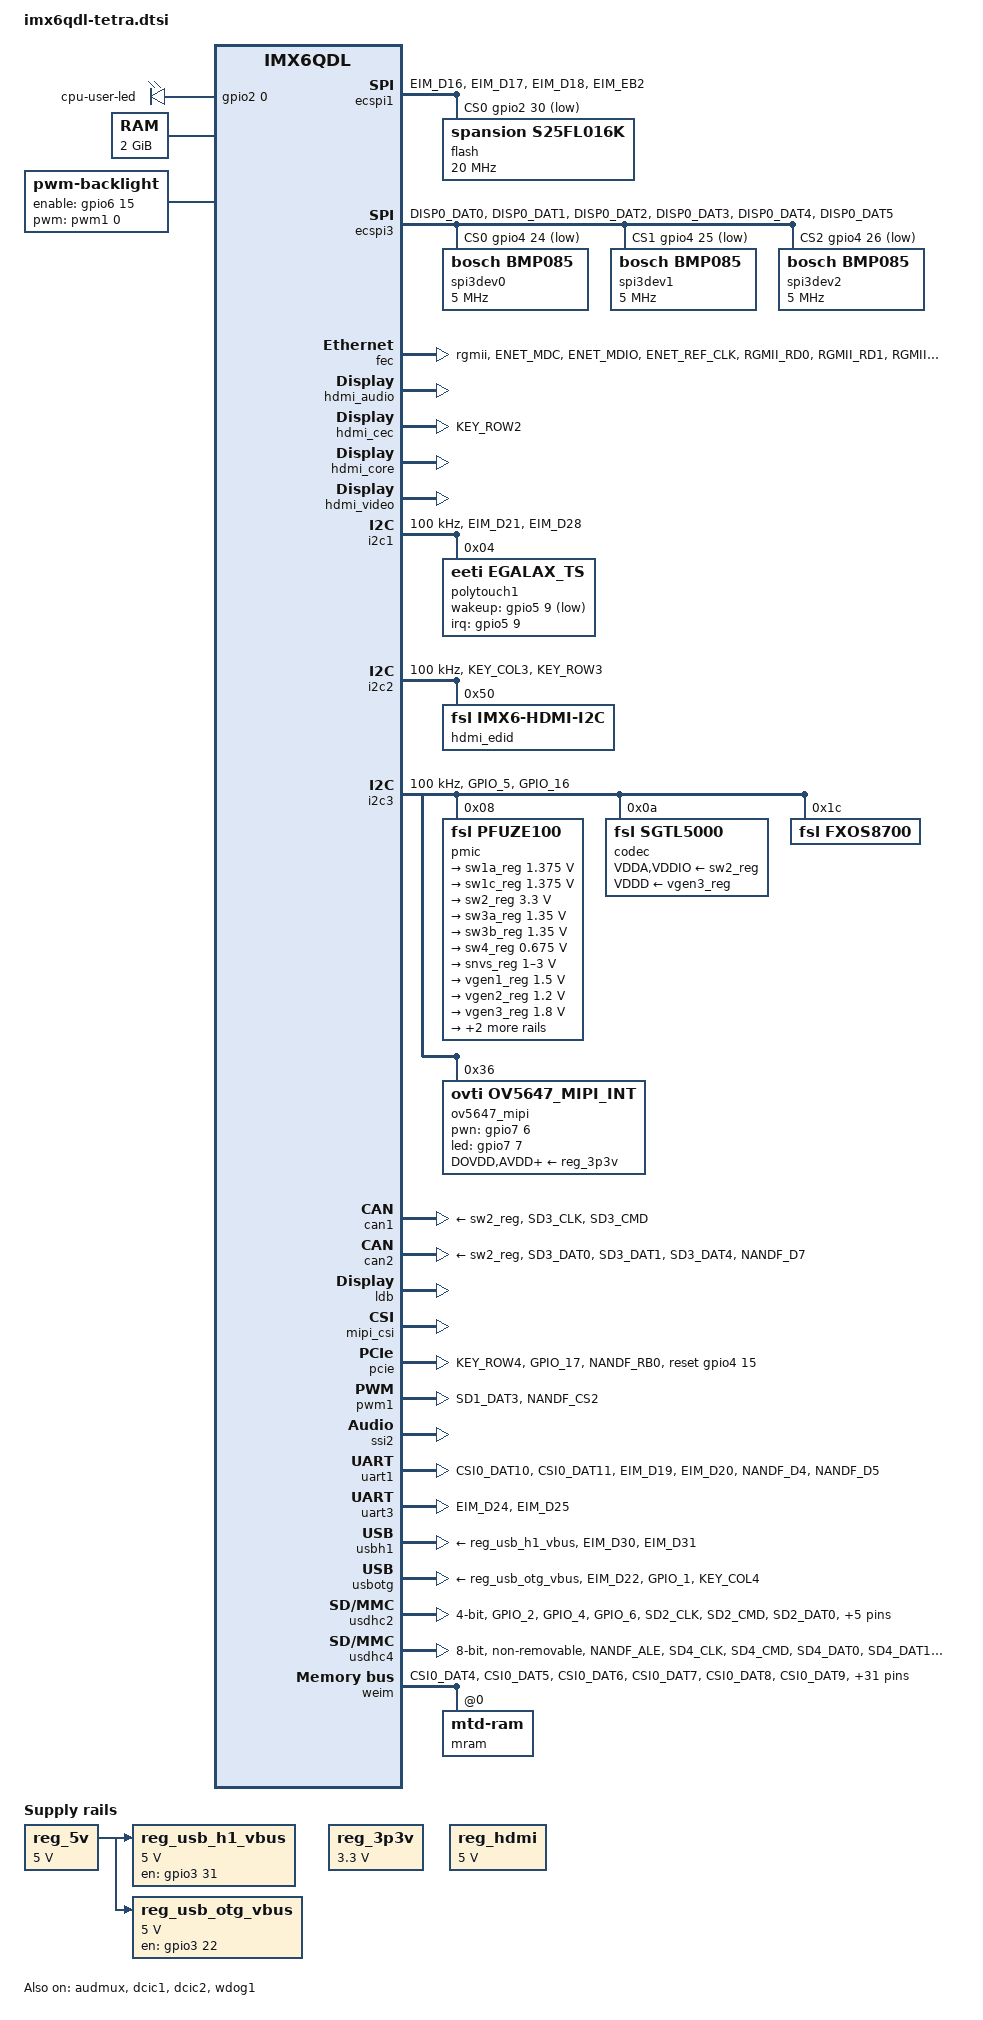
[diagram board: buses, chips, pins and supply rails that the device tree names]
/*
 * Copyright 2012-2016 Freescale Semiconductor, Inc.
 * Copyright 2011 Linaro Ltd.
 *
 * The code contained herein is licensed under the GNU General Public
 * License. You may obtain a copy of the GNU General Public License
 * Version 2 or later at the following locations:
 *
 * http://www.opensource.org/licenses/gpl-license.html
 * http://www.gnu.org/copyleft/gpl.html
 */

#include <dt-bindings/gpio/gpio.h>
#include <dt-bindings/input/input.h>

/ {
	aliases {
		mxcfb0 = &mxcfb1;
		mxcfb1 = &mxcfb2;
                mxcfb2 = &mxcfb3;
	};

	chosen {
		stdout-path = &uart1;
	};

	leds {
		compatible = "gpio-leds";
		cpu-user-led {
			gpios = <&gpio2 0 GPIO_ACTIVE_HIGH>;
			linux,default-trigger = "heartbeat"; /* blink PLED */
			retain-state-suspended;
		};
	};
	memory: memory {
		reg = <0x10000000 0x80000000>;
	};

        regulators {

                compatible = "simple-bus";
                #address-cells = <1>;
                #size-cells = <0>;
  
  
  
                /* MJ: updates 1/31/18, add a 5V regulator for use as vin-supply for USB and HDMI */
                reg_5v: regulator@0{
                        compatible = "regulator-fixed";
                        reg = <0>;
                        regulator-name = "5V_Supply";
                        regulator-min-microvolt = <5000000>;
                        regulator-max-microvolt = <5000000>;
	  		startup-delay-us = <70000>;
                        regulator-boot-on;
                };
  
                reg_usb_h1_vbus: regulator@1{
                        compatible = "regulator-fixed";
                        reg = <1>;
                        regulator-name = "usb_h1_vbus";
                        regulator-min-microvolt = <5000000>;
                        regulator-max-microvolt = <5000000>;
                        gpio = <&gpio3 31 GPIO_ACTIVE_HIGH>;
                        enable-active-high;
                        vin-supply = <&reg_5v>;
                };
  
                reg_usb_otg_vbus: regulator@2{
                        compatible = "regulator-fixed";
                        reg = <2>;
                        regulator-name = "usb_otg_vbus";
                        regulator-min-microvolt = <5000000>;
                        regulator-max-microvolt = <5000000>;
                        gpio = <&gpio3 22 1>;
                        enable-active-high;
                        vin-supply = <&reg_5v>;
                };
 
                reg_3p3v: regulator@4 {
                        compatible = "regulator-fixed";
                        reg = <4>;
                        regulator-name = "3P3V";
                        regulator-min-microvolt = <3300000>;
                        regulator-max-microvolt = <3300000>;
                        regulator-always-on;
                };

                reg_hdmi: regulator@5 {
                        compatible = "regulator-fixed";
                        reg = <5>;
                        regulator-name = "hdmi-5v-supply";
                        regulator-min-microvolt = <5000000>;
                        regulator-max-microvolt = <5000000>;
                        enable-active-high;
                        hdmi-5v-supply = <&reg_5v>;
                };
	};


	gpio-keys {
		compatible = "gpio-keys";
		pinctrl-names = "default";
		pinctrl-0 = <&pinctrl_gpio_keys>;

		/* Added for Tetra -- wake up signal support? */
/*
		pcie-wake {
			label = "PCIe Wake";
			gpios = <&gpio3 26 GPIO_ACTIVE_LOW>; 
			gpio-key,wakeup;
*/
		/*	linux,code = <KEY_PCIEWAKE>; */
		/*};*/
	};

        sound {
                compatible = "fsl,imx-audio-sgtl5000";
                model = "sgtl5000-audio";
                ssi-controller = <&ssi2>;
                audio-codec = <&codec>;
                audio-routing =
                        "MIC_IN", "Mic Jack",
                        "Mic Jack", "Mic Bias",
                        "Headphone Jack", "HP_OUT";
                mux-int-port = <1>;
                mux-ext-port = <3>;
        };

	sound-hdmi {
		compatible = "fsl,imx6q-audio-hdmi",
			     "fsl,imx-audio-hdmi";
		model = "imx-audio-hdmi";
		hdmi-controller = <&hdmi_audio>;
	};

	/* 18-bit LVDS (RGB666) */
	mxcfb1: fb@0 {
                compatible = "fsl,mxc_sdc_fb";
                disp_dev = "ldb";
                interface_pix_fmt = "RGB666";
		default_bpp = <16>;  /* why not 18 - 6+6+6? */
                int_clk = <0>;
                late_init = <0>;
                status = "disabled";
        };

	/* HDMI video settings */
	mxcfb2: fb@1 {
                compatible = "fsl,mxc_sdc_fb";
                disp_dev = "hdmi";
                interface_pix_fmt = "RGB24";
                mode_str ="1920x1080M@60";
                default_bpp = <24>;
                int_clk = <0>;
                late_init = <0>;
                status = "disabled";
        };

	/* MJ:  24 bit LVDS Panel settings (RGB888), supports up to 1366x768 */
	mxcfb3: fb@2 {
		compatible = "fsl,mxc_sdc_fb";
		disp_dev = "ldb";
		interface_pix_fmt = "RGB888"; /* MJ: changed from RGB666 */
		default_bpp = <24>; /* MJ: changed from 16 */
		int_clk = <0>;
		late_init = <0>;
		status = "disabled";
	};
	backlight {
		compatible = "pwm-backlight";
		pwms = <&pwm1 0 5000000>;
		brightness-levels = <0 4 8 16 32 64 128 255>;
		default-brightness-level = <7>;
		enable-gpios = <&gpio6 15 GPIO_ACTIVE_HIGH>;
		status = "okay";
	};

	v4l2_cap_0 {
		compatible = "fsl,imx6q-v4l2-capture";
		ipu_id = <0>;
		csi_id = <1>;
		mclk_source = <0>;
		mipi_camera = <0>;
		default_input = <1>;
		status = "okay";
	};

	v4l2_out {
		compatible = "fsl,mxc_v4l2_output";
		status = "okay";
	};

};

&audmux {
	pinctrl-names = "default";
	pinctrl-0 = <&pinctrl_audmux>;
	status = "okay";
};

&cpu0 {
/*
	arm-supply = <&sw1a_reg>;
	soc-supply = <&sw1c_reg>;
*/
};

&ecspi1 {
        fsl,spi-num-chipselects = <1>;
        cs-gpios = <
		&gpio2 30 GPIO_ACTIVE_LOW
		>; 
        pinctrl-names = "default";
        pinctrl-0 = <&pinctrl_ecspi1 &pinctrl_ecspi1_cs>;
        status = "okay";

        flash: 25fl016ki@0 {
                #address-cells = <1>;
                #size-cells = <1>;
                compatible = "spansion,s25fl016k";
                spi-max-frequency = <20000000>;
                reg = <0>;
        };
};

&ecspi3 {

        pinctrl-names = "default";
	fsl,spi-num-chipselects = <3>;
	cs-gpios = <
		&gpio4 24 GPIO_ACTIVE_LOW
		&gpio4 25 GPIO_ACTIVE_LOW
		&gpio4 26 GPIO_ACTIVE_LOW
		>;
        pinctrl-0 = <&pinctrl_ecspi3 &pinctrl_ecspi3_cs>;
        status = "okay";

        spi3dev0: spi@0 {
                compatible = "bosch,bmp085";
                reg = <0>;
                spi-max-frequency = <5000000>;
        };

        spi3dev1: spi@1 {
                compatible = "bosch,bmp085";
                reg = <1>;
                spi-max-frequency = <5000000>;
        };
        spi3dev2: spi@2 {
                compatible = "bosch,bmp085";
                reg = <2>;
                spi-max-frequency = <5000000>;
        };
};

&fec {
	pinctrl-names = "default";
	pinctrl-0 = <&pinctrl_enet>;
	phy-mode = "rgmii";
	/*phy-reset-gpios = <&gpio1 25 GPIO_ACTIVE_LOW>;*/
	/*fsl,magic-packet;*/
	status = "okay";
        txen-skew-ps = <0>;
        txc-skew-ps = <3000>;
        rxdv-skew-ps = <0>;
        rxc-skew-ps = <3000>;
        rxd0-skew-ps = <0>;
        rxd1-skew-ps = <0>;
        rxd2-skew-ps = <0>;
        rxd3-skew-ps = <0>;
        txd0-skew-ps = <0>;
        txd1-skew-ps = <0>;
        txd2-skew-ps = <0>;
        txd3-skew-ps = <0>;
/*
	phy-handle = <&ethphy0>;
        mdio {
                #address-cells = <1>;
                #size-cells = <0>;
                ethphy0: ethernet-phy@3 {
                        compatible = "micrel,ksz9031";
                        device_type = "ethernet-phy";
                        reg = <3>;
                };
        };
*/
};

&gpc {
	fsl,ldo-bypass = <1>; /* use ldo-bypass, u-boot will check it and configure */
	fsl,wdog-reset = <2>; /* watchdog select of reset source */
};

&dcic1 {
	dcic_id = <0>;
	dcic_mux = "dcic-hdmi";
	status = "okay";
};

&dcic2 {
	dcic_id = <1>;
	dcic_mux = "dcic-lvds0";
	status = "okay";
};

&hdmi_audio {
	status = "okay";
};

&hdmi_cec {
	pinctrl-names = "default";
	pinctrl-0 = <&pinctrl_hdmi_cec>;
	status = "okay";
};

&hdmi_core {
	ipu_id = <0>;
	disp_id = <0>;
	status = "okay";
};

&hdmi_video {
	fsl,phy_reg_vlev = <0x0294>;
	fsl,phy_reg_cksymtx = <0x800d>;
	HDMI-supply = <&reg_hdmi>; /* 3.3V */
	status = "okay";
};

&i2c1 {
	clock-frequency = <100000>;
	pinctrl-names = "default";
	pinctrl-0 = <&pinctrl_i2c1>;
	status = "okay";

	/* MJ - Touchscreen control should use I2C1 bus, updated GPIO pin info */
        polytouch1: eeti@04 {
                compatible = "eeti,egalax_ts";
                reg = <0x04>; /* I2C 7-bit address */
                interrupt-parent = <&gpio5>;
                interrupts = <9 2>;
                wakeup-gpios = <&gpio5 9 GPIO_ACTIVE_LOW>;
                linux,wakeup;
        };
};

&i2c2 {
	clock-frequency = <100000>;
	pinctrl-names = "default";
	pinctrl-0 = <&pinctrl_i2c2>;
	status = "okay";

	hdmi_edid: edid@50 {
		compatible = "fsl,imx6-hdmi-i2c";
		reg = <0x50>;
	};

};
&i2c3 {
	clock-frequency = <100000>;
	pinctrl-names = "default";
	pinctrl-0 = <&pinctrl_i2c3>;
	status = "okay";

	pmic: pfuze100@08 {
		compatible = "fsl,pfuze100";
		reg = <0x08>;

           regulators {

                /* SW1AB = V1P375_CORE, sequence #2 */
                sw1a_reg: sw1ab {
                     regulator-min-microvolt = <1375000>;
                     regulator-max-microvolt = <1375000>;
                     regulator-boot-on;
                     regulator-always-on;
                };

                /* SW1C = V1P375_SOC, sequence #3 */
                sw1c_reg: sw1c {
                     regulator-min-microvolt = <1375000>;
                     regulator-max-microvolt = <1375000>;
                     regulator-boot-on;
                     regulator-always-on;
                };

                /* SW2 = V3P3, sequence #6 */
                sw2_reg: sw2 {
                     regulator-min-microvolt = <3300000>;
                     regulator-max-microvolt = <3300000>;
                     regulator-boot-on;
                     regulator-always-on;
                };

                /* SW3A and SW3B = V1P35_DDR, sequence #4 */
                sw3a_reg: sw3a {
                     regulator-min-microvolt = <1350000>;
                     regulator-max-microvolt = <1350000>;
                     regulator-boot-on;
                     regulator-always-on;
                };

                /* SW3A and SW3B = V1P35_DDR, sequence #4 */
                sw3b_reg: sw3b {
                     regulator-min-microvolt = <1350000>;
                     regulator-max-microvolt = <1350000>;
                     regulator-boot-on;
                     regulator-always-on;
                };

                /* SW4 = V0P675_DDR_VTT = 0.5(SW3A) when VTT = Enabled, sequence #4 */
                sw4_reg: sw4 {
                     regulator-min-microvolt = <675000>;
                     regulator-max-microvolt = <675000>;
                     regulator-boot-on;
                     regulator-always-on;
                };

                /* SWBST (NOT USED), sequence #0 */

                /* VSNVS = V3_VSNVS (Coin Cell/LDO in PMIC), not sequenced */
                /* Always on per battery or on per Vin */
                snvs_reg: vsnvs {
                     regulator-min-microvolt = <1000000>;
                     regulator-max-microvolt = <3000000>;
                     regulator-boot-on;
                     regulator-always-on;
                };

                /* VREFDDR = V0P675_DDR_VREF, sequence #4 */
                vref_reg: vrefddr {
                     regulator-boot-on;
                     regulator-always-on;
                };

                /* VGEN1 = V1P5_MINI, sequence #31 */
                /* last rail to turn on, delays reset release */
                vgen1_reg: vgen1 {
                     regulator-min-microvolt = <1500000>;
                     regulator-max-microvolt = <1500000>;
                     regulator-boot-on;
                     regulator-always-on;
				
				/* Suspend-to-RAM allows for turning off ??? */
				/*regulator-state-mem {
					regulator-off-in-suspend;
				};
                           */
				/* Suspend-to-DISK allows for turning off ??? */
				/*regulator-state-disk {
					regulator-off-in-suspend;
				};
                           */
			};
                /* VGEN2 = V1P2_ETH, sequence #9 */
                vgen2_reg: vgen2 {
                     regulator-min-microvolt = <1200000>;
                     regulator-max-microvolt = <1200000>;
                     regulator-boot-on;
                     regulator-always-on;
                };

                /* VGEN3 = V1P8_AUDIO, sequence #6 */
                vgen3_reg: vgen3 {
                     regulator-min-microvolt = <1800000>;
                     regulator-max-microvolt = <1800000>;
                     regulator-boot-on;
                     regulator-always-on;
                };

                /* VGEN4 (NOT USED), sequence #0 */

                /* VGEN5 = V2P5_ETH, sequence #8 */
                vgen5_reg: vgen5 {
                     regulator-min-microvolt = <2500000>;
                     regulator-max-microvolt = <2500000>;
                     regulator-boot-on;
                     regulator-always-on;
                };

                /* VGEN6 = V3_ALWAYS, sequence #1 */
                vgen6_reg: vgen6 {
                     regulator-min-microvolt = <3000000>;
                     regulator-max-microvolt = <3000000>;
                     regulator-boot-on;
                     regulator-always-on;
                };
	    };
	};

        codec: sgtl5000@0a {
                compatible = "fsl,sgtl5000";
                reg = <0x0a>;
                clocks = <&clks 201>;
                VDDA-supply = <&sw2_reg>;
                VDDIO-supply = <&sw2_reg>;
                VDDD-supply = <&vgen3_reg>;
        };

        fxos8700@1c {
                compatible = "fsl,fxos8700";
                reg = <0x1c>;
        };

        ov5647_mipi@36 {
                compatible = "ovti,ov5647_mipi_int";
                reg = <0x36>;
                clocks = <&clks 0>;
                clock-names = "csi_mclk";
                pinctrl-names = "default";
                pinctrl-0 = <&pinctrl_cam>;
                DOVDD-supply = <&reg_3p3v>;
                AVDD-supply = <&reg_3p3v>;
                DVDD-supply = <&reg_3p3v>;
                pwn-gpios = <&gpio7 6 GPIO_ACTIVE_HIGH>;
                led-gpios = <&gpio7 7 GPIO_ACTIVE_HIGH>;
                ipu_id = <0>;
                csi_id = <1>;
                mclk = <25000000>;
                mclk_source = <0>;
/*
                extended-buffer;
*/

        };
};

&clks {
	fsl,ldb-di0-parent = <&clks IMX6QDL_CLK_PLL2_PFD0_352M>;
	fsl,ldb-di1-parent = <&clks IMX6QDL_CLK_PLL2_PFD0_352M>;
};

&can1 {
        pinctrl-names = "default";
        pinctrl-0 = <&pinctrl_flexcan1>;
	xceiver-supply = <&sw2_reg>; 
        status = "okay";
};

&can2 {
        pinctrl-names = "default";
        pinctrl-0 = <&pinctrl_flexcan2>;
	xceiver-supply = <&sw2_reg>; 
        status = "okay";
};


&iomuxc {
	pinctrl-names = "default";
	pinctrl-0 = <&pinctrl_hog>;
	
	imx6qdl-tetra {
		pinctrl_hog: hoggrp {
			fsl,pins = <
                                /* Programmable LED output for User I/O */
				MX6QDL_PAD_NANDF_D0__GPIO2_IO00            0x0001B018
  
                                /* Updated for TP, pull-down, 90 Ohm, slow slew */
                                MX6QDL_PAD_CSI0_PIXCLK__ARM_EVENTO         0x00013098 
                                /* Updated for TP */
                                MX6QDL_PAD_GPIO_3__XTALOSC_REF_CLK_24M     0x00013098 
                                /* Updated for TP */
                                MX6QDL_PAD_GPIO_8__XTALOSC_REF_CLK_32K     0x00013098 
                                /* COMP_IRQ# input, update to pull-up (off by default)*/
				MX6QDL_PAD_DI0_PIN2__GPIO4_IO18            0x0001B0B0
                                /* PMIC_INT# input (pull-up = off by default) */
				MX6QDL_PAD_DISP0_DAT12__GPIO5_IO06         0x0001B0B0
                                /* USB_HUB_RST# out (pull-up = off by default) */
				MX6QDL_PAD_DISP0_DAT22__GPIO5_IO16         0x0001B030
                                /* SOC_RSTOUT# out (pull-up = off by default) */
 				MX6QDL_PAD_EIM_A25__GPIO5_IO02             0x0001B030
                                /* LVDS signals */                          
                                /* GPIO6_IO16 is LVDS_PANEL_PWREN, was 0x80000000 */
                                MX6QDL_PAD_NANDF_CS3__GPIO6_IO16 0x00013018
                                /* GPIO6_IO07 is PG_V3P3_LVDS input, was 0x80000000 */
				MX6QDL_PAD_NANDF_CLE__GPIO6_IO07 0x0001B018

                                /* section for multifunction pins. Choose one function for each pin
                                   
                                /* PIN1: GPIO1/GPT_OUT1/PWM_OUT4 */
                                MX6QDL_PAD_SD1_CMD__GPIO1_IO18             0x0001B018 /* GPIO 1 */
                                /* MX6QDL_PAD_SD1_CMD__PWM4_OUT               0x0001B018 */ /* PWM_OUT4 */
                                /* MX6QDL_PAD_SD1_CMD__GPT_COMPARE1           0x0001B018 */ /* GPT_OUT1 */

				/* PIN2: GPIO2/GPT_IN1 */
                                MX6QDL_PAD_SD1_DAT0__GPIO1_IO16            0x0001B018 /* GPIO 2 */
                                /* MX6QDL_PAD_SD1_DAT0__GPT_CAPTURE1          0x0001B018 */ /* GPT_IN1 */

				/* PIN3: GPIO3/GPT_IN2/PWM_OUT3 */
                                MX6QDL_PAD_SD1_DAT1__GPIO1_IO17            0x0001B018 /* GPIO 3 */
                                /* MX6QDL_PAD_SD1_DAT1__PWM3_OUT              0x0001B018 */ /* PWM_OUT3 */
                                /* MX6QDL_PAD_SD1_DAT1__GPT_CAPTURE2          0x0001B018 */ /* GPT_IN2 */

				/* PIN4: GPIO4/GPT_OUT2/WDOG1_RST# */
                                MX6QDL_PAD_SD1_DAT2__GPIO1_IO19            0x0001B018 /* GPIO 4 */
                                /* MX6QDL_PAD_SD1_DAT2__GPT_COMPARE2          0x0001B018 */ /* GPT_OUT2 */
                                /* MX6QDL_PAD_SD1_DAT2__WDOG1_RESET_B_DEB     0x0001B018 */ /* WDOG1_RST# */

				/* PIN5: GPIO5/GPT_CLKIN */
                                MX6QDL_PAD_SD1_CLK__GPIO1_IO20             0x0001B018 /* GPIO 5 */
                                /* MX6QDL_PAD_SD1_CLK__GPT_CLKIN              0x0001B018 */ /* GPT_CLKIN */

				/* PIN6: GPIO 6 */
                                MX6QDL_PAD_DISP0_DAT10__GPIO4_IO31         0x0001B018 /* GPIO 6 */

				/* PIN7: GPIO7/PWM_OUT2/WDOG2# */
                                MX6QDL_PAD_DISP0_DAT9__GPIO4_IO30          0x0001B018 /* GPIO 7 */
                                /* MX6QDL_PAD_DISP0_DAT9__PWM2_OUT            0x0001B018 */ /*PWM_OUT2 */
				/* MX6QDL_PAD_DISP0_DAT9__WDOG2_B            0x0001B018 */ /*WDOG2# */

				/* PIN8: GPIO 8 */
                                MX6QDL_PAD_DISP0_DAT8__GPIO4_IO29          0x0001B018 /* GPIO 8 */

                                /* GP_IRQ#, set as open drain (might have mult. drivers) */
                                MX6QDL_PAD_DISP0_DAT15__GPIO5_IO09         0x0001B818 

			>;
		};

		pinctrl_cam: camgrp {
                        fsl,pins = <
                                /* MJ - GPIO7_IO06 is CSI_GPIO0, was 0x0001B0B0 */
                                /* Pull-up enabled, lower drive strength */
                                MX6QDL_PAD_SD3_DAT2__GPIO7_IO06            0x0001B098
                                /* MJ - GPIO7_IO07 is CSI_GPIO1, was 0x000120B0 */
                                /* Pull-down disabled, lower drive strength */
                                MX6QDL_PAD_SD3_DAT3__GPIO7_IO07            0x00012098
                        >;
                };

		pinctrl_flexcan1: flexcan1grp {
			fsl,pins = <
				MX6QDL_PAD_SD3_CLK__FLEXCAN1_RX            0x0001B098
				MX6QDL_PAD_SD3_CMD__FLEXCAN1_TX            0x0001B098
			>;
		};

                pinctrl_flexcan2: flexcan2grp {
                        fsl,pins = <
                                /* updated for 90 Ohm setting (50 Ohm @ 3.3V)*/
				MX6QDL_PAD_SD3_DAT0__FLEXCAN2_TX           0x0001B098
				MX6QDL_PAD_SD3_DAT1__FLEXCAN2_RX           0x0001B098
				/* currently unused CAN transceiver control signals */
                                /* set to 100k pull-down, 90 Ohm, low spd, slow slew */ 
                                /* FLEXCAN2_STBY */ 
				MX6QDL_PAD_SD3_DAT4__GPIO7_IO01            0x00013018
                                /* FLEXCAN2_CTRL */
				MX6QDL_PAD_NANDF_D7__GPIO2_IO07            0x00013018
			>;
		};

             /*  MJ 2/1/17 changes to pin control (drive strength) */
		pinctrl_weim_cs0: weimcs0grp {
                        fsl,pins = <
				MX6QDL_PAD_EIM_CS0__EIM_CS0_B              0x0000B099                    
                        >;
                };


             /*  MJ 2/1/17 changes to pin control (drive strength) */
                pinctrl_weim_nor: weimnorgrp {
                        fsl,pins = <
				MX6QDL_PAD_CSI0_DAT4__EIM_DATA02           0x0001B098
				MX6QDL_PAD_CSI0_DAT5__EIM_DATA03           0x0001B098
				MX6QDL_PAD_CSI0_DAT6__EIM_DATA04           0x0001B098
				MX6QDL_PAD_CSI0_DAT7__EIM_DATA05           0x0001B098
				MX6QDL_PAD_CSI0_DAT8__EIM_DATA06           0x0001B098
				MX6QDL_PAD_CSI0_DAT9__EIM_DATA07           0x0001B098
				MX6QDL_PAD_CSI0_DAT12__EIM_DATA08          0x0001B098
				MX6QDL_PAD_CSI0_DAT13__EIM_DATA09          0x0001B098
				MX6QDL_PAD_CSI0_DAT14__EIM_DATA10          0x0001B098
				MX6QDL_PAD_CSI0_DAT15__EIM_DATA11          0x0001B098
				MX6QDL_PAD_CSI0_DAT16__EIM_DATA12          0x0001B098
				MX6QDL_PAD_CSI0_DAT17__EIM_DATA13          0x0001B098
				MX6QDL_PAD_CSI0_DAT18__EIM_DATA14          0x0001B098
				MX6QDL_PAD_CSI0_DAT19__EIM_DATA15          0x0001B098
				MX6QDL_PAD_CSI0_DATA_EN__EIM_DATA00        0x0001B098
				MX6QDL_PAD_CSI0_VSYNC__EIM_DATA01          0x0001B098
				MX6QDL_PAD_EIM_DA0__EIM_AD00               0x0000B099
				MX6QDL_PAD_EIM_DA1__EIM_AD01               0x0000B099
				MX6QDL_PAD_EIM_DA2__EIM_AD02               0x0000B099
				MX6QDL_PAD_EIM_DA3__EIM_AD03               0x0000B099
				MX6QDL_PAD_EIM_DA4__EIM_AD04               0x0000B099
				MX6QDL_PAD_EIM_DA5__EIM_AD05               0x0000B099
				MX6QDL_PAD_EIM_DA6__EIM_AD06               0x0000B099
				MX6QDL_PAD_EIM_DA7__EIM_AD07               0x0000B099
				MX6QDL_PAD_EIM_DA8__EIM_AD08               0x0000B099
				MX6QDL_PAD_EIM_DA9__EIM_AD09               0x0000B099
				MX6QDL_PAD_EIM_DA10__EIM_AD10              0x0000B099
				MX6QDL_PAD_EIM_DA11__EIM_AD11              0x0000B099
				MX6QDL_PAD_EIM_DA12__EIM_AD12              0x0000B099
				MX6QDL_PAD_EIM_DA13__EIM_AD13              0x0000B099
				MX6QDL_PAD_EIM_DA14__EIM_AD14              0x0000B099
				MX6QDL_PAD_EIM_DA15__EIM_AD15              0x0000B099
				MX6QDL_PAD_EIM_EB0__EIM_EB0_B              0x0000B099
				MX6QDL_PAD_EIM_EB1__EIM_EB1_B              0x0000B099
				MX6QDL_PAD_EIM_OE__EIM_OE_B                0x0000B099
				MX6QDL_PAD_EIM_RW__EIM_RW                  0x0000B099
			>;
		};		

		/*  MJ 2/1/17 changes to pin control (drive strength) */
		pinctrl_audmux: audmuxgrp {
			fsl,pins = <
                                /* MJ - moved CLK_AUD here */
                                /* set all to pull-downs 100k like Sabresd */
				MX6QDL_PAD_GPIO_0__CCM_CLKO1               0x000130B0
        			MX6QDL_PAD_KEY_COL0__AUD5_TXC              0x000130B0
				MX6QDL_PAD_KEY_COL1__AUD5_TXFS             0x00013098 
				MX6QDL_PAD_KEY_ROW0__AUD5_TXD	           0x00013098            
				MX6QDL_PAD_KEY_ROW1__AUD5_RXD              0x00013098 
			>;
		};

		pinctrl_ecspi1: ecspi1grp {
			fsl,pins = <
                                /* set fast slew, 33 Ohm driver, pull-down */
				MX6QDL_PAD_EIM_D16__ECSPI1_SCLK            0x000130B9
				MX6QDL_PAD_EIM_D17__ECSPI1_MISO            0x00013099
				MX6QDL_PAD_EIM_D18__ECSPI1_MOSI            0x00013099
			>;
		};
		pinctrl_ecspi1_cs: ecspi1cs {
                        fsl,pins = <
				MX6QDL_PAD_EIM_EB2__GPIO2_IO30		   0x0001B098
                        >;
                };

                pinctrl_ecspi3: ecspi3grp {
                        fsl,pins = <
                                /* set fast slew, 33 Ohm driver, pull-down */
                                MX6QDL_PAD_DISP0_DAT0__ECSPI3_SCLK         0x000130B9
                                MX6QDL_PAD_DISP0_DAT1__ECSPI3_MOSI         0x00013099
                                MX6QDL_PAD_DISP0_DAT2__ECSPI3_MISO         0x00013099
                        >;
                };
                pinctrl_ecspi3_cs: ecspi3cs {
                        fsl,pins = <
                                MX6QDL_PAD_DISP0_DAT3__GPIO4_IO24          0x0001B098
                                MX6QDL_PAD_DISP0_DAT4__GPIO4_IO25          0x0001B098
                                MX6QDL_PAD_DISP0_DAT5__GPIO4_IO26          0x0001B098
                        >;
                };

		/*  MJ changes to pin control for all I2C (lower drive strength 90 Ohm) 
		 *  I2C pinctrl settings go from 0x4001b8b1 to 0x4001b899 */
		pinctrl_i2c1: i2c1grp {
			fsl,pins = <
				MX6QDL_PAD_EIM_D21__I2C1_SCL               0x4001b899
				MX6QDL_PAD_EIM_D28__I2C1_SDA               0x4001b899			
			>;
		};

		pinctrl_i2c2: i2c2grp {
			fsl,pins = <
				MX6QDL_PAD_KEY_COL3__I2C2_SCL              0x4001b899
				MX6QDL_PAD_KEY_ROW3__I2C2_SDA              0x4001b899
			 >;
		};

                pinctrl_i2c3: i2c3grp {
                        fsl,pins = <
                                MX6QDL_PAD_GPIO_5__I2C3_SCL                0x4001b899
                                MX6QDL_PAD_GPIO_16__I2C3_SDA               0x4001b899
                        >;
                };

		/*  MJ changes to pin control for ENET_MDIO (lower drive strength 60 Ohm) 
              *  and ENET_CRS_DV (RGMII_RST#) set as open-drain output with pull-up */
		pinctrl_enet: enetgrp {
			fsl,pins = <
				MX6QDL_PAD_ENET_MDC__ENET_MDC              0x0001B0B0
				MX6QDL_PAD_ENET_MDIO__ENET_MDIO            0x0001B0A0
				MX6QDL_PAD_ENET_REF_CLK__ENET_TX_CLK       0x0001B0B0
				MX6QDL_PAD_RGMII_RD0__RGMII_RD0            0x0001B030
				MX6QDL_PAD_RGMII_RD1__RGMII_RD1            0x0001B030
				MX6QDL_PAD_RGMII_RD2__RGMII_RD2            0x0001B030
				MX6QDL_PAD_RGMII_RD3__RGMII_RD3            0x0001B030
				MX6QDL_PAD_RGMII_RXC__RGMII_RXC            0x00013030
				MX6QDL_PAD_RGMII_RX_CTL__RGMII_RX_CTL      0x00013030
				MX6QDL_PAD_RGMII_TD0__RGMII_TD0            0x0001B030
				MX6QDL_PAD_RGMII_TD1__RGMII_TD1            0x0001B030
				MX6QDL_PAD_RGMII_TD2__RGMII_TD2            0x0001B030
				MX6QDL_PAD_RGMII_TD3__RGMII_TD3            0x0001B030
				MX6QDL_PAD_RGMII_TXC__RGMII_TXC            0x00013030
				MX6QDL_PAD_RGMII_TX_CTL__RGMII_TX_CTL      0x00013030
                                /* RGMII_RST#, open drain output with 100k pull-up */
				MX6QDL_PAD_ENET_CRS_DV__GPIO1_IO25         0x0001B8B0
				/* RGMII_INT# and RGMII_INT#_STATUS inputs respectively (GPIO)*/
                                MX6QDL_PAD_ENET_RXD1__GPIO1_IO26           0x0001B0B0
                                MX6QDL_PAD_ENET_TX_EN__GPIO1_IO28          0x0001B0B0
			>;
		};

		pinctrl_gpio_keys: gpio_keysgrp {
			fsl,pins = <
                                /* PCIe_WAKE# input, pull-up (off by default) - moved to gpio-keys */
                                MX6QDL_PAD_EIM_D26__GPIO3_IO26             0x0001B0B0
			>;
		};

		pinctrl_hdmi_cec: hdmicecgrp {
			fsl,pins = <
				MX6QDL_PAD_KEY_ROW2__HDMI_TX_CEC_LINE      0x00010898
			>;
		};


                pinctrl_sata: satagrp {
			fsl,pins = <
                                /* MSATA_DAS input, pull-down */
				MX6QDL_PAD_NANDF_D1__GPIO2_IO01            0x000130B0
                                /* SATA_ACT output, pull-down, lower spd & drive strength */
				MX6QDL_PAD_NANDF_D2__GPIO2_IO02            0x00013018
			>;
		};

                pinctrl_pcie: pciegrp {
                        fsl,pins = <
                                /* PCIE_RST# out, pull-up, external series term 22 Ohms */
                                MX6QDL_PAD_KEY_ROW4__GPIO4_IO15            0x0001B0B0
                                /* PCIE_W_DISABLE# (wireless disable), set output to 
                                open drain with pull-up and lower drive strength */
                                MX6QDL_PAD_GPIO_17__GPIO7_IO12		   0x0001B898
                                /* PCIe_WAKE# input, pull-up (off by default) - moved to gpio-keys */
                                /* MX6QDL_PAD_EIM_D26__GPIO3_IO26             0x0001B0B0 */
                                /* PRES_DISABLE2# (PCIe or mSATA) input, pull-up */
                                MX6QDL_PAD_NANDF_RB0__GPIO6_IO10           0x0001B0B0
                        >;
                };

		pinctrl_pwm1: pwm1grp {
			fsl,pins = <
				/* LVDS_PWMO: Fast slew, 90 Ohm, Medium speed settings */
				MX6QDL_PAD_SD1_DAT3__PWM1_OUT              0x0001B099 
				/* LVDS_BKLTEN: Pull-down, Slow slew, 90 Ohm, Low spd settings */
				MX6QDL_PAD_NANDF_CS2__GPIO6_IO15           0x00013018 
			>;
		};

		pinctrl_usbotg: usbotggrp {
			fsl,pins = <
				/* MX6QDL_PAD_EIM_D22__USB_OTG_PWR            0x00013098*/
                                MX6QDL_PAD_EIM_D22__GPIO3_IO22  	   0x010b0 
				MX6QDL_PAD_GPIO_1__USB_OTG_ID              0x10759 /*0x0001B0B0*/
				MX6QDL_PAD_KEY_COL4__USB_OTG_OC            0x0001B0B0
			>;
		};

                pinctrl_usbh1: usbh1grp {
                        fsl,pins = <
                                MX6QDL_PAD_EIM_D30__USB_H1_OC              0x0001B0B0
	                        /*MX6QDL_PAD_EIM_D31__USB_H1_PWR             0x0001B098*/
				MX6QDL_PAD_EIM_D31__GPIO3_IO31             0x010b0
                        >;
                };
		
             /* MJ: default = 0x0001B0B0, update some to lower drive strength and  
                slow down the speed (Set to Slow instead of default of Medium) */
		pinctrl_uart1: uart1grp {
			fsl,pins = <
				MX6QDL_PAD_CSI0_DAT10__UART1_TX_DATA       0x0001B018
				MX6QDL_PAD_CSI0_DAT11__UART1_RX_DATA       0x0001B018
                                MX6QDL_PAD_EIM_D19__UART1_CTS_B            0x0001B018
                                MX6QDL_PAD_EIM_D20__UART1_RTS_B            0x0001B018
                                /* RS-232 transceiver signals for COM1/serial debug port */
                                /* XCVR1_RXEN#, pull-down to auto-enable */
				MX6QDL_PAD_NANDF_D4__GPIO2_IO04            0x00013018
                                /* XCVR1_SHDN#, pull-up to disable shutdown of device */
				MX6QDL_PAD_NANDF_D5__GPIO2_IO05            0x0001B018
			>;
		};

           /* MJ: default = 0x0001B0B0, update some to lower drive strength and  
              slow down the speed (Set to Slow instead of default of Medium) */
		pinctrl_uart3: uart3grp {
			fsl,pins = <
				MX6QDL_PAD_EIM_D24__UART3_TX_DATA          0x0001B018
				MX6QDL_PAD_EIM_D25__UART3_RX_DATA          0x0001B018

			>;
		};
		
		pinctrl_usdhc2: usdhc2grp {
			fsl,pins = <
				MX6QDL_PAD_GPIO_2__SD2_WP                  0x0001B098
				MX6QDL_PAD_GPIO_4__SD2_CD_B                0x0001B098
				MX6QDL_PAD_GPIO_6__SD2_LCTL                0x0001B098
				MX6QDL_PAD_SD2_CLK__SD2_CLK                0x0001B0B1
				MX6QDL_PAD_SD2_CMD__SD2_CMD                0x0001B0B1
				MX6QDL_PAD_SD2_DAT0__SD2_DATA0             0x0001B098
				MX6QDL_PAD_SD2_DAT1__SD2_DATA1             0x0001B098
				MX6QDL_PAD_SD2_DAT2__SD2_DATA2             0x0001B098
				MX6QDL_PAD_SD2_DAT3__SD2_DATA3             0x0001B098
			>;
		};

		pinctrl_usdhc4: usdhc4grp {
			fsl,pins = <
				MX6QDL_PAD_NANDF_ALE__SD4_RESET            0x0001B098
				MX6QDL_PAD_SD4_CLK__SD4_CLK                0x0001B0B1
				MX6QDL_PAD_SD4_CMD__SD4_CMD                0x0001B0B1
				MX6QDL_PAD_SD4_DAT0__SD4_DATA0             0x0001B098
				MX6QDL_PAD_SD4_DAT1__SD4_DATA1             0x0001B098
				MX6QDL_PAD_SD4_DAT2__SD4_DATA2             0x0001B098
				MX6QDL_PAD_SD4_DAT3__SD4_DATA3             0x0001B098
				MX6QDL_PAD_SD4_DAT4__SD4_DATA4             0x0001B098
				MX6QDL_PAD_SD4_DAT5__SD4_DATA5             0x0001B098
				MX6QDL_PAD_SD4_DAT6__SD4_DATA6             0x0001B098
				MX6QDL_PAD_SD4_DAT7__SD4_DATA7             0x0001B098
 			>;
		};

           /* MJ: default = 0x0001B0B0, update some to lower drive strength and  
              slow down the speed (Set to Slow instead of default of Medium) */
		pinctrl_wdog: wdoggrp {
			fsl,pins = <
				MX6QDL_PAD_GPIO_9__WDOG1_B                 0x0001B018
			>;
		};
	};

};
&ldb {
	status = "okay";

	lvds-channel@0 {
                crtc = "ipu2-di0";
		fsl,data-mapping = "spwg";
		fsl,data-width = <18>; /* change for panel type */
                primary;
		status = "okay";

		display-timings {
			native-mode = <&timing0>;
			timing0: hsd100pxn1 {
				clock-frequency = <65000000>;
				hactive = <1024>;
				vactive = <768>;
				hback-porch = <220>;
				hfront-porch = <40>;
				vback-porch = <21>;
				vfront-porch = <7>;
				hsync-len = <60>;
				vsync-len = <10>;
			};
		};
	};
};

&mipi_csi {
	status = "okay";
	ipu_id = <0>;
	csi_id = <1>;
	v_channel = <1>;
	lanes = <2>;
	mipi_dphy_clk = <0x28>;
};

&mipi_dsi {

	status = "disable";

};
&pcie {
        pinctrl-names = "default";
        pinctrl-0 = <&pinctrl_pcie>;

        reset-gpio = <&gpio4 15 0>;

        status = "okay";
};


&pwm1 {
	pinctrl-names = "default";
	pinctrl-0 = <&pinctrl_pwm1>;
	status = "okay";
};


/* Add these supply assignments from the Sabre SD board imx6qdl-sabresd.dtsi */
/* "&reg_*" names are used in imx6q.dtsi but get set up in our board file */ 
&reg_arm {
       vin-supply = <&sw1a_reg>;
};

&reg_pu {
       vin-supply = <&sw1c_reg>;
};

&reg_soc {
       vin-supply = <&sw1c_reg>;
};
&snvs_poweroff {
	status = "okay"; /* set to "disable"; to disable PMIC control from iMX6 */
};


&ssi2 {
        fsl,mode = "i2s-master";
        status = "okay";
};
/*
&ssi2 {
	fsl,mode = "i2s-slave";
	status = "okay";
};
*/

&uart1 {
	pinctrl-names = "default";
	pinctrl-0 = <&pinctrl_uart1>;
	fsl,uart-has-rtscts;
	/*fsl,dte-mode;*/
	status = "okay";
};

&uart3 {
	pinctrl-names = "default";
	pinctrl-0 = <&pinctrl_uart3>;
        /*fsl,dte-mode;*/
	status = "okay";
};

&usbh1 {
	vbus-supply = <&reg_usb_h1_vbus>;
/*        dr_mode = "host"; */
        disable-over-current;
        pinctrl-names = "default";
        pinctrl-0 = <&pinctrl_usbh1>;
	status = "okay";
};

&usbotg {
	vbus-supply = <&reg_usb_otg_vbus>;
	pinctrl-names = "default";
	pinctrl-0 = <&pinctrl_usbotg>;
	disable-over-current;
	srp-disable;
	hnp-disable;
	adp-disable;
	status = "okay";
};

&usbphy1 {
     /* Default 0x7 is nominal resistor trimming setting, SabreSD uses 0x5 */
     tx-d-cal = <0x7>; 
};

&usbphy2 {
     /* Default 0x7 is nominal resistor trimming setting, SabreSD uses 0x5 */
     tx-d-cal = <0x7>;
};

&usdhc2 {
	pinctrl-names = "default";
	pinctrl-0 = <&pinctrl_usdhc2>;
	bus-width = <4>;
	cd-gpios = <&gpio1 4 GPIO_ACTIVE_LOW>;
	wp-gpios = <&gpio1 2 GPIO_ACTIVE_HIGH>;
	no-1-8-v;
	keep-power-in-suspend;
	enable-sdio-wakeup;
	status = "okay";
};

&usdhc4 {
	pinctrl-names = "default";
	pinctrl-0 = <&pinctrl_usdhc4>;
	bus-width = <8>;
	non-removable;
	no-1-8-v;
	keep-power-in-suspend;
	status = "okay";
};

&wdog1 {
	pinctrl-names = "default";
	pinctrl-0 = <&pinctrl_wdog>;
	fsl,wdog_b;
	status = "okay";
};

&wdog2 {
        pinctrl-names = "default";
	pinctrl-0 = <&pinctrl_wdog>;
	fsl,ext-reset-output; /* MJ:  maybe this enables the pin output? */
	status = "disabled";
};

&weim {
	compatible = "fsl,imx6q-weim";
        pinctrl-names = "default";
        pinctrl-0 = <&pinctrl_weim_nor &pinctrl_weim_cs0>;
        #address-cells = <2>;
        #size-cells = <1>;
        ranges = <0 0 0x08000000 0x08000000>;
        status = "okay"; /* pin conflict with SPI NOR */
	fsl,weim-cs-gpr = <&gpr>;

	mram@0,0 {
	    compatible = "mtd-ram";
	    reg = <0 0 1000000>;
	    /*#address-cells = <1>;
	    #size-cells = <1>;*/
	    bank-width = <2>;
	    /* EIM_CSnGCR1, EIM_CSnGCR2, EIM_CSnRCR1, EIM_CSnRCR2, EIM_CSnWCR1, EIM_CSnWCR2 */
	    /*fsl,weim-cs-timing = <0x000100B1 0x00000000 0x04080000 0x00000000 0x8400208 0x00000000>;*/
	    fsl,weim-cs-timing = <0x00B100B1 0x00000000 0x07081100 0x00000019 0x87009240 0x00000000>;
	};

};


